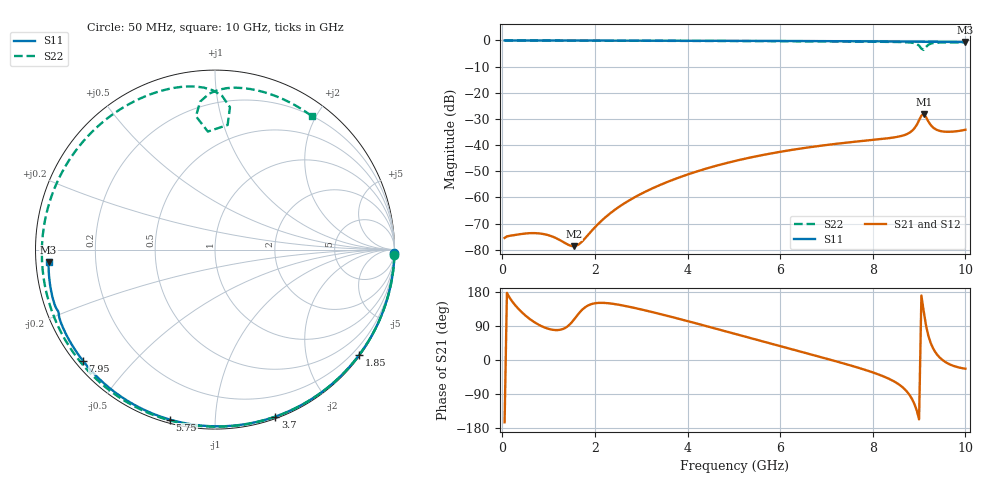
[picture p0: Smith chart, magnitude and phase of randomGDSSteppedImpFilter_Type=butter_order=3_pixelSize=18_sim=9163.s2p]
! freq	dB(S11)	phase(S11)	dB(S12)	phase(S12)
!  dB(S21)	phase(S21)	dB(S22)	phase(S22)
!S-par simulation data
#  GHz  S  DB  R 50
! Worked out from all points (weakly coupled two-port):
!   200 points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, 50 MHz to 10 GHz, reference 50 ohm
!   highest |S21| = -28.14 dB at 9.1 GHz (marker M1); lowest = -78.6 dB at 1.55 GHz (marker M2)
!   lowest |S11| = -0.6 dB at 10 GHz (marker M3), VSWR 27.61, Z = 1.81 - j1.87 ohm
!   |S11| at or under -10 dB: nowhere
!   |S22| runs from -3.6 to 0.0 dB; largest |S21 - S12| = 0
!   S11 on the Smith chart (normalised r, x): 50 MHz: open; 1.85 GHz: 0.03, -3.06; 3.7 GHz: 0.02, -1.42; 5.75 GHz: 0.02, -0.77; 7.95 GHz: 0.02, -0.37; 10 GHz: 0.04, -0.04
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0.05  -0.00 -1.0  -75.47 -164.3  -75.47 -164.3  -0.00 -1.6
0.8  -0.02 -15.9  -73.75 92.2  -73.75 92.2  -0.03 -24.9
1.55  -0.04 -30.4  -78.62 107.0  -78.62 107.0  -0.06 -47.7
1.75  -0.04 -34.3  -76.34 135.4  -76.34 135.4  -0.07 -53.6
1.85  -0.05 -36.2  -74.36 143.8  -74.36 143.8  -0.07 -56.5
2.5  -0.06 -48.4  -63.84 146.2  -63.84 146.2  -0.09 -75.3
3.4  -0.09 -64.8  -55.28 121.6  -55.28 121.6  -0.13 -100.2
3.7  -0.09 -70.2  -53.15 112.3  -53.15 112.3  -0.14 -108.3
5.05  -0.14 -93.3  -45.96 68.1  -45.96 68.1  -0.21 -143.9
5.75  -0.18 -104.8  -43.36 44.9  -43.36 44.9  -0.26 -162.6
6.7  -0.23 -120.0  -40.66 13.5  -40.66 13.5  -0.34 170.8
7.35  -0.28 -130.3  -39.22 -8.4  -39.22 -8.4  -0.41 151.1
7.95  -0.34 -139.9  -38.10 -30.6  -38.10 -30.6  -0.48 131.2
8.35  -0.38 -146.3  -37.34 -49.6  -37.34 -49.6  -0.54 116.5
8.85  -0.45 -154.7  -34.51 -103.5  -34.51 -103.5  -0.87 94.0
9  -0.50 -157.2  -30.50 -156.7  -30.50 -156.7  -1.97 84.0
9.05  -0.54 -158.0  -28.71 170.2  -28.71 170.2  -3.12 84.2
9.1  -0.55 -158.5  -28.14 128.6  -28.14 128.6  -3.62 93.5
9.15  -0.52 -159.2  -29.32 90.9  -29.32 90.9  -2.50 98.1
9.25  -0.50 -161.0  -32.29 45.1  -32.29 45.1  -1.22 92.2
9.35  -0.50 -162.9  -33.87 20.8  -33.87 20.8  -0.89 85.7
10  -0.63 -175.7  -34.13 -23.0  -34.13 -23.0  -0.74 54.1
